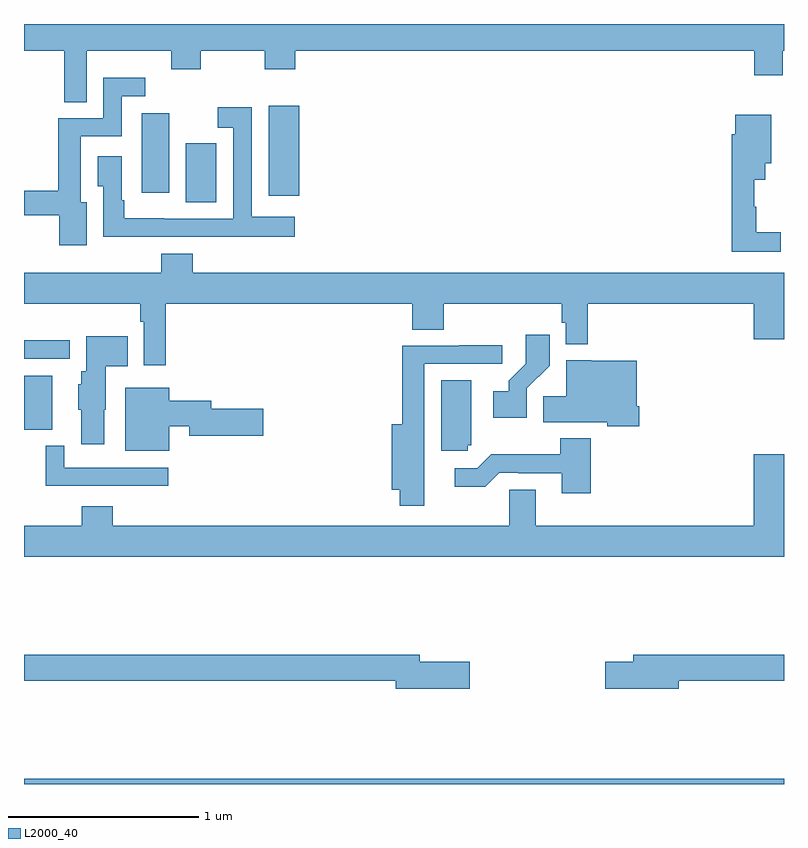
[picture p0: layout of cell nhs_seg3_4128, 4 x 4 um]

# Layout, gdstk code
import gdstk
lib = gdstk.Library(unit=1e-6, precision=1e-09)
def R(c, l, rs):  # rectangles x0, y0, x1, y1
    for r in rs: c.add(gdstk.rectangle(r[:2], r[2:], *l))
def P(c, l, *ps):  # polygons
    for p in ps: c.add(gdstk.Polygon(p, *l))
L2000_40 = (2000, 40)

nhs_seg3_4128 = lib.new_cell('nhs_seg3_4128')
R(nhs_seg3_4128, L2000_40, [(329,686.4,333,686.428), (329,688.265,329.149,688.549), (329,688.638,329.242,688.736), (329.852,689.461,330.013,689.772), (330.287,689.496,330.448,689.971), (329.621,689.513,329.764,689.929)])
P(nhs_seg3_4128, L2000_40, [(329.329,690.26),(329.776,690.26),(329.776,690.161),(329.931,690.161),(329.931,690.26),(330.268,690.26),(330.268,690.161),(330.428,690.161),(330.428,690.26),(332.843,690.26),(332.843,690.129),(332.994,690.129),(332.994,690.26),(333,690.26),(333,690.4),(329,690.4),(329,690.26),(329.211,690.26),(329.211,689.989),(329.329,689.989)],
  [(329.329,689.463),(329.299,689.463),(329.299,689.808),(329.514,689.808),(329.514,690.021),(329.638,690.021),(329.638,690.118),(329.418,690.118),(329.418,689.904),(329.181,689.904),(329.181,689.522),(329,689.522),(329,689.394),(329.186,689.394),(329.186,689.235),(329.329,689.235)],
  [(329.639,689.28),(330.005,689.28),(330.005,689.279),(330.424,689.279),(330.424,689.386),(330.198,689.386),(330.198,689.962),(330.021,689.962),(330.021,689.853),(330.102,689.853),(330.102,689.376),(329.739,689.376),(329.739,689.377),(329.527,689.377),(329.527,689.473),(329.514,689.473),(329.514,689.704),(329.387,689.704),(329.387,689.545),(329.418,689.545),(329.418,689.279),(329.639,689.279)],
  [(332.983,689.303),(332.854,689.303),(332.854,689.439),(332.843,689.439),(332.843,689.579),(332.902,689.579),(332.902,689.666),(332.932,689.666),(332.932,689.923),(332.744,689.923),(332.744,689.819),(332.725,689.819),(332.725,689.202),(332.983,689.202)],
  [(329,688.928),(329.611,688.928),(329.611,688.832),(329.631,688.832),(329.631,688.605),(329.747,688.605),(329.747,688.928),(331.043,688.928),(331.043,688.792),(331.208,688.792),(331.208,688.928),(331.831,688.928),(331.831,688.827),(331.851,688.827),(331.851,688.715),(331.967,688.715),(331.967,688.928),(332.84,688.928),(332.84,688.74),(333,688.74),(333,689.092),(329.888,689.092),(329.888,689.191),(329.723,689.191),(329.723,689.092),(329,689.092)],
  [(331.647,688.483),(331.766,688.602),(331.766,688.765),(331.641,688.765),(331.641,688.613),(331.55,688.523),(331.55,688.468),(331.47,688.468),(331.47,688.328),(331.647,688.328)],
  [(329.422,688.371),(329.431,688.371),(329.431,688.598),(329.546,688.598),(329.546,688.756),(329.327,688.756),(329.327,688.572),(329.3,688.572),(329.3,688.503),(329.285,688.503),(329.285,688.371),(329.3,688.371),(329.3,688.188),(329.422,688.188)],
  [(331.107,688.611),(331.516,688.611),(331.516,688.71),(331.291,688.71),(331.291,688.707),(330.991,688.707),(330.991,688.294),(330.935,688.294),(330.935,687.95),(330.978,687.95),(330.978,687.864),(331.107,687.864)],
  [(332.237,688.387),(332.224,688.387),(332.224,688.627),(331.986,688.627),(331.986,688.63),(331.853,688.63),(331.853,688.442),(331.732,688.442),(331.732,688.304),(332.07,688.304),(332.07,688.283),(332.237,688.283)],
  [(331.335,688.182),(331.354,688.182),(331.354,688.526),(331.196,688.526),(331.196,688.155),(331.335,688.155)],
  [(329.764,688.283),(329.87,688.283),(329.87,688.234),(330.259,688.234),(330.259,688.376),(329.986,688.376),(329.986,688.418),(329.764,688.418),(329.764,688.486),(329.534,688.486),(329.534,688.154),(329.764,688.154)],
  [(331.982,688.219),(331.822,688.219),(331.822,688.135),(331.459,688.135),(331.386,688.062),(331.266,688.062),(331.266,687.965),(331.427,687.965),(331.5,688.038),(331.6,688.038),(331.6,688.035),(331.829,688.035),(331.829,687.93),(331.982,687.93)],
  [(329.758,688.065),(329.211,688.065),(329.211,688.18),(329.114,688.18),(329.114,687.969),(329.758,687.969)],
  [(333,688.135),(332.84,688.135),(332.84,687.76),(331.693,687.76),(331.693,687.95),(331.554,687.95),(331.554,687.76),(329.468,687.76),(329.468,687.862),(329.303,687.862),(329.303,687.76),(329,687.76),(329,687.596),(333,687.596)],
  [(332.446,686.944),(333,686.944),(333,687.08),(332.207,687.08),(332.207,687.044),(332.058,687.044),(332.058,686.902),(332.446,686.902)],
  [(331.345,687.044),(331.084,687.044),(331.084,687.08),(329,687.08),(329,686.944),(330.956,686.944),(330.956,686.902),(331.345,686.902)])

lib.write_gds('nhs_seg3_4128.gds')
